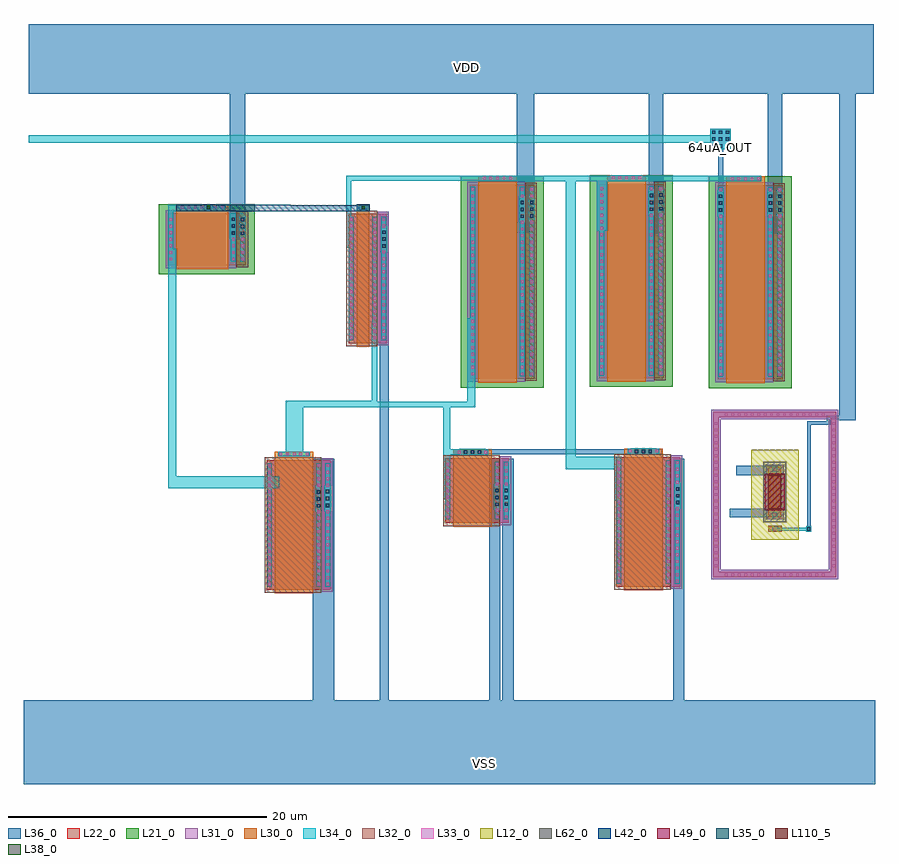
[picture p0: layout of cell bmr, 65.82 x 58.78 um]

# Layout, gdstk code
from math import pi, radians
import gdstk
lib = gdstk.Library(unit=1e-6, precision=1e-09)
def R(c, l, rs):  # rectangles x0, y0, x1, y1
    for r in rs: c.add(gdstk.rectangle(r[:2], r[2:], *l))
def A(c, l, x, y, w, h, nx, ny, dx, dy):  # array of equal rectangles
    R(c, l, [(x+i*dx, y+j*dy, x+i*dx+w, y+j*dy+h) for i in range(nx) for j in range(ny)])
def P(c, l, *ps):  # polygons
    for p in ps: c.add(gdstk.Polygon(p, *l))
L12_0 = (12, 0)
L21_0 = (21, 0)
L22_0 = (22, 0)
L30_0 = (30, 0)
L31_0 = (31, 0)
L32_0 = (32, 0)
L33_0 = (33, 0)
L34_0 = (34, 0)
L35_0 = (35, 0)
L36_0 = (36, 0)
L38_0 = (38, 0)
L42_0 = (42, 0)
L49_0 = (49, 0)
L62_0 = (62, 0)
L110_5 = (110, 5)

pfet = lib.new_cell('pfet')
R(pfet, L21_0, [(-1.15,-0.69,5.26,15.69)])
R(pfet, L22_0, [(-0.46,0,0,15), (0,0,3.38,15), (3.38,0,3.84,15), (3.84,0,4.57,15)])
R(pfet, L30_0, [(0.19,-0.3,3.19,15.3), (0.19,15.3,3.19,15.68)])
R(pfet, L31_0, [(-0.63,-0.24,3.84,15.24)])
R(pfet, L32_0, [(3.84,-0.17,4.74,15.17)])
A(pfet, L33_0, -0.34, 0.25, 0.22, 0.22, 1, 29, 0, 0.51)
A(pfet, L33_0, 3.5, 0.25, 0.22, 0.22, 1, 29, 0, 0.51)
A(pfet, L33_0, 4.23, 0.25, 0.22, 0.22, 1, 29, 0, 0.51)
A(pfet, L33_0, 0.56, 15.38, 0.22, 0.22, 5, 1, 0.51, 0)
R(pfet, L34_0, [(-0.42,0.17,-0.04,14.83), (3.42,0.17,3.8,14.83), (4.15,0.17,4.53,14.83), (0.48,15.3,2.9,15.68)])

nfet = lib.new_cell('nfet')
R(nfet, L22_0, [(-0.42,0,0,10), (0,0,1.38,10), (1.38,0,1.8,10), (1.8,0,2.51,10)])
R(nfet, L30_0, [(0.19,-0.3,1.19,10.3), (0.19,10.3,1.19,10.66)])
R(nfet, L31_0, [(1.8,-0.17,2.68,10.17)])
R(nfet, L32_0, [(-0.59,-0.24,1.8,10.24)])
A(nfet, L33_0, -0.32, 0.3, 0.22, 0.22, 1, 19, 0, 0.51)
A(nfet, L33_0, 1.48, 0.3, 0.22, 0.22, 1, 19, 0, 0.51)
A(nfet, L33_0, 2.19, 0.3, 0.22, 0.22, 1, 19, 0, 0.51)
R(nfet, L33_0, [(0.58,10.37,0.8,10.59)])
R(nfet, L34_0, [(-0.4,0.22,-0.02,9.78), (1.4,0.22,1.78,9.78), (2.11,0.22,2.49,9.78), (0.5,10.289,0.88,10.671)])

pfet_3 = lib.new_cell('pfet$3')
R(pfet_3, L21_0, [(-1.15,-0.69,6.26,4.69)])
R(pfet_3, L22_0, [(-0.46,0,0,4), (0,0,4.38,4), (4.38,0,4.84,4), (4.84,0,5.57,4)])
R(pfet_3, L30_0, [(0.19,-0.3,4.19,4.3), (0.19,4.3,4.19,4.68)])
R(pfet_3, L31_0, [(-0.63,-0.24,4.84,4.24)])
R(pfet_3, L32_0, [(4.84,-0.17,5.74,4.17)])
A(pfet_3, L33_0, -0.34, 0.36, 0.22, 0.22, 1, 7, 0, 0.51)
A(pfet_3, L33_0, 4.5, 0.36, 0.22, 0.22, 1, 7, 0, 0.51)
A(pfet_3, L33_0, 5.23, 0.36, 0.22, 0.22, 1, 7, 0, 0.51)
A(pfet_3, L33_0, 0.55, 4.38, 0.22, 0.22, 7, 1, 0.51, 0)
R(pfet_3, L34_0, [(-0.42,0.28,-0.04,3.72), (4.42,0.28,4.8,3.72), (5.15,0.28,5.53,3.72), (0.47,4.3,3.91,4.68)])

nfet_7 = lib.new_cell('nfet$7')
R(nfet_7, L22_0, [(-0.42,0,0,10), (0,0,3.38,10), (3.38,0,3.8,10), (3.8,0,4.51,10)])
R(nfet_7, L30_0, [(0.19,-0.3,3.19,10.3), (0.19,10.3,3.19,10.66)])
R(nfet_7, L31_0, [(3.8,-0.17,4.68,10.17)])
R(nfet_7, L32_0, [(-0.59,-0.24,3.8,10.24)])
A(nfet_7, L33_0, -0.32, 0.3, 0.22, 0.22, 1, 19, 0, 0.51)
A(nfet_7, L33_0, 3.48, 0.3, 0.22, 0.22, 1, 19, 0, 0.51)
A(nfet_7, L33_0, 4.19, 0.3, 0.22, 0.22, 1, 19, 0, 0.51)
A(nfet_7, L33_0, 0.56, 10.37, 0.22, 0.22, 5, 1, 0.51, 0)
R(nfet_7, L34_0, [(-0.4,0.22,-0.02,9.78), (3.4,0.22,3.78,9.78), (4.11,0.22,4.49,9.78), (0.48,10.29,2.9,10.67)])

nfet_8 = lib.new_cell('nfet$8')
R(nfet_8, L22_0, [(-0.42,0,0,5), (0,0,3.38,5), (3.38,0,3.8,5), (3.8,0,4.51,5)])
R(nfet_8, L30_0, [(0.19,-0.3,3.19,5.3), (0.19,5.3,3.19,5.66)])
R(nfet_8, L31_0, [(3.8,-0.17,4.68,5.17)])
R(nfet_8, L32_0, [(-0.59,-0.24,3.8,5.24)])
A(nfet_8, L33_0, -0.32, 0.35, 0.22, 0.22, 1, 9, 0, 0.51)
A(nfet_8, L33_0, 3.48, 0.35, 0.22, 0.22, 1, 9, 0, 0.51)
A(nfet_8, L33_0, 4.19, 0.35, 0.22, 0.22, 1, 9, 0, 0.51)
A(nfet_8, L33_0, 0.56, 5.37, 0.22, 0.22, 5, 1, 0.51, 0)
R(nfet_8, L34_0, [(-0.4,0.27,-0.02,4.73), (3.4,0.27,3.78,4.73), (4.11,0.27,4.49,4.73), (0.48,5.29,2.9,5.67)])

via_dev = lib.new_cell('via_dev')
R(via_dev, L34_0, [(0,0,0.5,2)])
A(via_dev, L35_0, 0.12, 0.34, 0.26, 0.26, 1, 3, 0, 0.53)
R(via_dev, L36_0, [(0,0,0.5,2)])

via_dev_1 = lib.new_cell('via_dev$1')
R(via_dev_1, L34_0, [(0,0,1,0.5)])
R(via_dev_1, L35_0, [(0.37,0.12,0.63,0.38)])
R(via_dev_1, L36_0, [(0,0,1,0.5)])
R(via_dev_1, L38_0, [(0.37,0.12,0.63,0.38)])
R(via_dev_1, L42_0, [(0,0,1,0.5)])

via_dev_2 = lib.new_cell('via_dev$2')
R(via_dev_2, L34_0, [(0,0,1.6,1.6)])
A(via_dev_2, L35_0, 0.14, 0.14, 0.26, 0.26, 3, 3, 0.53, 0.53)
R(via_dev_2, L36_0, [(0,0,1.6,1.6)])

ppolyf_u_high_rs_resisto = lib.new_cell('ppolyf_u_high_Rs_resistor')
R(ppolyf_u_high_rs_resisto, L12_0, [(-2.38,-1.34,4.59,2.34)])
R(ppolyf_u_high_rs_resisto, L22_0, [(-1.76,0,-1.34,1)])
P(ppolyf_u_high_rs_resisto, L22_0, [(-5.3,-4.26),(-5.3,4.84),(-4.88,4.84),(-4.88,-3.84),(7.09,-3.84),(7.09,4.84),(-5.3,4.84),(-5.3,5.26),(7.51,5.26),(7.51,-4.26)])
R(ppolyf_u_high_rs_resisto, L30_0, [(-0.64,0,3.25,1)])
R(ppolyf_u_high_rs_resisto, L31_0, [(-0.82,-0.18,0,1.18), (2.61,-0.18,3.43,1.18)])
P(ppolyf_u_high_rs_resisto, L31_0, [(-5.46,-4.42),(-5.46,4.68),(-4.72,4.68),(-4.72,-3.68),(6.93,-3.68),(6.93,4.68),(-5.46,4.68),(-5.46,5.42),(7.67,5.42),(7.67,-4.42)])
R(ppolyf_u_high_rs_resisto, L32_0, [(-1.78,-0.02,-1.32,1.02)])
A(ppolyf_u_high_rs_resisto, L33_0, -4.505, -4.16, 0.22, 0.22, 23, 2, 0.5, 9.1)
A(ppolyf_u_high_rs_resisto, L33_0, -5.2, -3.36, 0.22, 0.22, 1, 16, 0, 0.5)
A(ppolyf_u_high_rs_resisto, L33_0, 7.19, -3.36, 0.22, 0.22, 1, 16, 0, 0.5)
R(ppolyf_u_high_rs_resisto, L33_0, [(-1.66,0.39,-1.44,0.61), (-0.57,0.39,-0.35,0.61), (2.96,0.39,3.18,0.61)])
R(ppolyf_u_high_rs_resisto, L34_0, [(-1.74,0.309,-1.36,0.691), (-0.65,0.309,-0.27,0.691), (2.88,0.309,3.26,0.691)])
R(ppolyf_u_high_rs_resisto, L49_0, [(-0.1,-0.28,2.71,1.28)])
R(ppolyf_u_high_rs_resisto, L62_0, [(-1.04,-0.4,3.65,1.4)])
R(ppolyf_u_high_rs_resisto, L110_5, [(0,0,2.61,1)])

via_dev_3 = lib.new_cell('via_dev$3')
R(via_dev_3, L34_0, [(0,0,0.4,0.4)])
R(via_dev_3, L35_0, [(0.07,0.07,0.33,0.33)])
R(via_dev_3, L36_0, [(0,0,0.4,0.4)])

bmr = lib.new_cell('bmr')
R(bmr, L34_0, [(125.56,12.2,126.13,15.56), (112.33,12.28,112.9,19.83), (91.09,13.12,91.7,31.64), (91.09,13.12,99.67,14.04), (121.82,14.6,126.05,15.56), (121.82,14.76,122.6,37.28), (100.16,15.58,101.5,19.88), (112.33,15.73,114.93,16.13), (100.16,19.4,106.83,19.88), (106.58,19.4,113.08,19.83), (106.83,19.4,107.23,25.95), (112.33,19.4,114.81,19.83), (114.22,19.4,114.81,26.27), (104.86,31.71,105.24,37.31), (91.09,33.02,91.47,35.06), (124.21,33.04,125.02,37.28), (91.09,34.56,95.48,35.06), (115.04,36.86,136.93,37.28), (104.86,36.9,116.54,37.31)])
R(bmr, L36_0, [(79.92,-9.75,145.74,-3.29), (102.27,-7.17,103.15,15.41), (103.05,-7.17,103.93,15.41), (115.89,-7.17,116.77,15.41), (116.9,-7.17,117.78,15.41), (130.12,-7.17,131,15.41), (107.43,-7.16,108.13,34.35), (134.5,10.87,138.49,11.53), (134.99,14.14,138.49,14.85), (113.19,15.76,129.24,16.13), (142.99,18.39,144.24,46.32), (95.815,32.38,97.015,46.25), (128.25,32.83,129.36,46.23), (137.45,32.86,138.56,46.23), (118.04,32.89,119.38,46.3), (133.61,33.43,133.99,40.3), (80.3,43.63,145.63,49.03)])
R(bmr, L42_0, [(91.7,34.56,100.56,35.06), (100.1,34.56,106.64,35.01)])
bmr.add(gdstk.FlexPath([(143.83,18.59),(142.14,18.59),(142.14,18.18),(140.62,18.18),(140.62,9.98)], 0.28, ends="flush", simple_path=True, layer=36, datatype=0))  # L36_0
bmr.add(gdstk.FlexPath([(137.99,9.96),(140.63,9.96)], 0.23, ends="flush", simple_path=True, layer=34, datatype=0))  # L34_0
bmr.add(gdstk.FlexPath([(133.84,40.13),(80.29,40.13)], 0.6, ends="flush", simple_path=True, layer=34, datatype=0))  # L34_0
bmr.add(gdstk.Reference(pfet, (134.03,21.56)))
bmr.add(gdstk.Reference(pfet, (124.83,21.65)))
bmr.add(gdstk.Reference(pfet, (114.85,21.6)))
bmr.add(gdstk.Reference(nfet, (105.45,24.35)))
bmr.add(gdstk.Reference(pfet_3, (91.51,30.38)))
bmr.add(gdstk.Reference(nfet_7, (99.12,5.29)))
bmr.add(gdstk.Reference(nfet_8, (112.92,10.44)))
bmr.add(gdstk.Reference(nfet_7, (126.15,5.52)))
bmr.add(gdstk.Reference(via_dev, (107.51,31.39)))
bmr.add(gdstk.Reference(via_dev, (95.85,32.4)))
bmr.add(gdstk.Reference(via_dev, (96.56,32.38)))
bmr.add(gdstk.Reference(via_dev, (118.21,33.69)))
bmr.add(gdstk.Reference(via_dev, (118.94,33.7)))
bmr.add(gdstk.Reference(via_dev, (128.21,34.23)))
bmr.add(gdstk.Reference(via_dev, (128.95,34.27)))
bmr.add(gdstk.Reference(via_dev, (137.4,34.18)))
bmr.add(gdstk.Reference(via_dev, (138.12,34.18)))
bmr.add(gdstk.Reference(via_dev, (103.15,11.33)))
bmr.add(gdstk.Reference(via_dev, (116.97,11.42)))
bmr.add(gdstk.Reference(via_dev, (130.23,11.54)))
bmr.add(gdstk.Reference(via_dev, (102.45,11.3)))
bmr.add(gdstk.Reference(via_dev_1, (105.66,34.57)))
bmr.add(gdstk.Reference(via_dev_1, (93.7,34.6)))
bmr.add(gdstk.Reference(via_dev, (115.61,15.67), rotation=pi/2))
bmr.add(gdstk.Reference(via_dev, (128.83,15.73), rotation=pi/2))
bmr.add(gdstk.Reference(via_dev, (116.26,11.42)))
bmr.add(gdstk.Reference(via_dev, (133.55,34.18)))
bmr.add(gdstk.Reference(via_dev_2, (133,39.33)))
bmr.add(gdstk.Reference(ppolyf_u_high_rs_resisto, (138.49,11.53), rotation=pi/2))
bmr.add(gdstk.Reference(via_dev_3, (140.82,9.77), rotation=pi/2))
bmr.add(gdstk.Label('64uA_OUT', (133.78,39.44), layer=36, texttype=10))
bmr.add(gdstk.Label('VDD', (114.16,45.68), layer=36, texttype=10))
bmr.add(gdstk.Label('VSS', (115.54,-8.16), layer=36, texttype=10))

lib.write_gds('bmr.gds')
